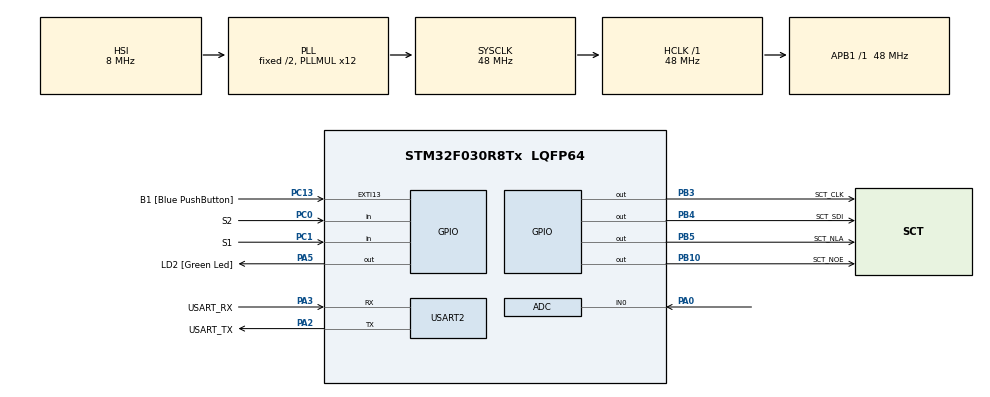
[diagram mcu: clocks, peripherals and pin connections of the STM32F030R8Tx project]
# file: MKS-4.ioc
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ADC.ContinuousConvMode=ENABLE
ADC.Overrun=ADC_OVR_DATA_OVERWRITTEN
ADC.SamplingTime=ADC_SAMPLETIME_239CYCLES_5
Mcu.Family=STM32F0
Mcu.Name=STM32F030R8Tx
Mcu.Package=LQFP64
NVIC.ADC1_IRQn=true\:0\:0\:false\:false\:true\:true\:true
PA0.Mode=IN0
PA0.Signal=ADC_IN0
PA13.GPIO_Label=TMS
PA13.Mode=Serial_Wire
PA13.Signal=SYS_SWDIO
PA14.GPIO_Label=TCK
PA14.Mode=Serial_Wire
PA14.Signal=SYS_SWCLK
PA2.GPIO_Label=USART_TX
PA2.GPIO_Mode=GPIO_MODE_AF_PP
PA2.GPIO_PuPd=GPIO_NOPULL
PA2.GPIO_Speed=GPIO_SPEED_FREQ_LOW
PA2.Mode=Asynchronous
PA2.Signal=USART2_TX
PA3.GPIO_Label=USART_RX
PA3.GPIO_Mode=GPIO_MODE_AF_PP
PA3.GPIO_PuPd=GPIO_NOPULL
PA3.GPIO_Speed=GPIO_SPEED_FREQ_LOW
PA3.Mode=Asynchronous
PA3.Signal=USART2_RX
PA5.GPIO_Label=LD2 [Green Led]
PA5.GPIO_Mode=GPIO_MODE_OUTPUT_PP
PA5.GPIO_PuPd=GPIO_NOPULL
PA5.GPIO_Speed=GPIO_SPEED_FREQ_LOW
PA5.Signal=GPIO_Output
PB10.GPIO_Label=SCT_NOE
PB10.Signal=GPIO_Output
PB3.GPIO_Label=SCT_CLK
PB3.Signal=GPIO_Output
PB4.GPIO_Label=SCT_SDI
PB4.Signal=GPIO_Output
PB5.GPIO_Label=SCT_NLA
PB5.Signal=GPIO_Output
PC0.GPIO_Label=S2
PC0.GPIO_Mode=GPIO_MODE_INPUT
PC0.GPIO_PuPd=GPIO_PULLUP
PC0.Signal=GPIO_Input
PC1.GPIO_Label=S1
PC1.GPIO_PuPd=GPIO_PULLUP
PC1.Signal=GPIO_Input
PC13.GPIO_Label=B1 [Blue PushButton]
PC13.GPIO_ModeDefaultEXTI=GPIO_MODE_IT_FALLING
PC13.Signal=GPXTI13
PC14-OSC32_IN.Mode=LSE-External-Oscillator
PC14-OSC32_IN.Signal=RCC_OSC32_IN
PC15-OSC32_OUT.Mode=LSE-External-Oscillator
PC15-OSC32_OUT.Signal=RCC_OSC32_OUT
PF0-OSC_IN.Mode=HSE-External-Clock-Source
PF0-OSC_IN.Signal=RCC_OSC_IN
PF1-OSC_OUT.Signal=RCC_OSC_OUT
ProjectManager.HeapSize=0x200
ProjectManager.StackSize=0x400
ProjectManager.TargetToolchain=STM32CubeIDE
RCC.AHBFreq_Value=48000000
RCC.APB1Freq_Value=48000000
RCC.APB1TimFreq_Value=48000000
RCC.HCLKFreq_Value=48000000
RCC.PLLMUL=RCC_PLL_MUL12
RCC.SYSCLKFreq_VALUE=48000000
RCC.SYSCLKSource=RCC_SYSCLKSOURCE_PLLCLK
USART2.VirtualMode-Asynchronous=VM_ASYNC
VP_ADC_TempSens_Input.Mode=IN-TempSens
VP_ADC_Vref_Input.Mode=IN-Vrefint
board=NUCLEO-F030R8

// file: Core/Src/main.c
/* USER CODE BEGIN Header */
/**
 ******************************************************************************
 * @file           : main.c
 * @brief          : Main program body
 ******************************************************************************
 * @attention
 *
 * <h2><center>&copy; Copyright (c) 2021 STMicroelectronics.
 * All rights reserved.</center></h2>
 *
 * This software component is licensed by ST under BSD 3-Clause license,
 * the "License"; You may not use this file except in compliance with the
 * License. You may obtain a copy of the License at:
 *                        opensource.org/licenses/BSD-3-Clause
 *
 ******************************************************************************
 */
/* USER CODE END Header */
#include "main.h"

/* USER CODE BEGIN Includes */
#include "sct.h"
/* USER CODE END Includes */

/* USER CODE BEGIN PD */
/* Temperature sensor calibration value address */
#define TEMP110_CAL_ADDR ((uint16_t*) ((uint32_t) 0x1FFFF7C2))
#define TEMP30_CAL_ADDR ((uint16_t*) ((uint32_t) 0x1FFFF7B8))
/* Internal voltage reference calibration value address */
#define VREFINT_CAL_ADDR ((uint16_t*) ((uint32_t) 0x1FFFF7BA))
/* USER CODE END PD */

ADC_HandleTypeDef hadc;

UART_HandleTypeDef huart2;

/* USER CODE BEGIN PV */
static volatile uint32_t raw_pot;
static volatile uint32_t raw_temp;
static volatile uint32_t raw_volt;
/* USER CODE END PV */

void SystemClock_Config(void);
static void MX_GPIO_Init(void);
static void MX_USART2_UART_Init(void);
static void MX_ADC_Init(void);

/* USER CODE BEGIN 0 */
void HAL_ADC_ConvCpltCallback(ADC_HandleTypeDef* hadc){
	static uint32_t avg_pot;
	static uint8_t channel;
	// Switch between channels
	switch (channel) {
	case 0:
		// Exponential cumulation
		// Notice lazy number displaying
		raw_pot = avg_pot >> 12;
		avg_pot -= raw_pot;
		avg_pot += HAL_ADC_GetValue(hadc);
		break;
	case 1:
		raw_temp = HAL_ADC_GetValue(hadc);
		break;
	case 2:
		raw_volt = HAL_ADC_GetValue(hadc);
		break;
	}
	if (__HAL_ADC_GET_FLAG(hadc, ADC_FLAG_EOS)) channel = 0;
	else channel++;

}
/* USER CODE END 0 */

int main(void)
{

	/* MCU Configuration--------------------------------------------------------*/

	/* Reset of all peripherals, Initializes the Flash interface and the Systick. */
	HAL_Init();

	/* Configure the system clock */
	SystemClock_Config();

	/* Initialize all configured peripherals */
	MX_GPIO_Init();
	MX_USART2_UART_Init();
	MX_ADC_Init();
	/* USER CODE BEGIN 2 */
	sct_init();
	HAL_ADCEx_Calibration_Start(&hadc);
	HAL_ADC_Start_IT(&hadc);
	/* USER CODE END 2 */

	/* Infinite loop */
	/* USER CODE BEGIN WHILE */
	// State automat
	static enum {RIGHT, LEFT} state = RIGHT;
	uint32_t timer;

	while (1)
	{
		/* USER CODE END WHILE */

		/* USER CODE BEGIN 3 */
		// Voltage conversion
		//uint32_t voltage = 330 * (*VREFINT_CAL_ADDR) / raw_volt;
		// Temperature conversion
		int32_t temperature = (raw_temp - (int32_t)(*TEMP30_CAL_ADDR));
		temperature = temperature * (int32_t)(110 - 30);
		temperature = temperature / (int32_t)(*TEMP110_CAL_ADDR - *TEMP30_CAL_ADDR);
		temperature = temperature + 30;
		/*variable*/
		uint32_t tick = 0;

		/*STATE evaluating*/
		switch (state) {
		case RIGHT:
			sct_value(0, (tick-HAL_GetTick())*9/2000);
			break;
		case LEFT:
			sct_value(0, (tick-HAL_GetTick())*9/2000);
			break;
		}
		if (HAL_GetTick()>tick+2000){
			tick = 0;
		}
		else{
			tick += HAL_GetTick;
		}
		if(HAL_GPIO_ReadPin(S1_GPIO_Port, S1_Pin) == 0){
			timer = HAL_GetTick();
			state = LEFT;
		}
		else if (HAL_GPIO_ReadPin(S2_GPIO_Port, S2_Pin) == 0){
			timer = HAL_GetTick();
			state = RIGHT;
		}
		if (HAL_GetTick() >= timer + 2000){
			// timer = Tick;
			state = RIGHT;
		}

	}
	/* USER CODE END 3 */
}

void SystemClock_Config(void)
{
	RCC_OscInitTypeDef RCC_OscInitStruct = {0};
	RCC_ClkInitTypeDef RCC_ClkInitStruct = {0};

	/** Initializes the RCC Oscillators according to the specified parameters
	 * in the RCC_OscInitTypeDef structure.
	 */
	RCC_OscInitStruct.OscillatorType = RCC_OSCILLATORTYPE_HSI|RCC_OSCILLATORTYPE_HSI14;
	RCC_OscInitStruct.HSIState = RCC_HSI_ON;
	RCC_OscInitStruct.HSI14State = RCC_HSI14_ON;
	RCC_OscInitStruct.HSICalibrationValue = RCC_HSICALIBRATION_DEFAULT;
	RCC_OscInitStruct.HSI14CalibrationValue = 16;
	RCC_OscInitStruct.PLL.PLLState = RCC_PLL_ON;
	RCC_OscInitStruct.PLL.PLLSource = RCC_PLLSOURCE_HSI;
	RCC_OscInitStruct.PLL.PLLMUL = RCC_PLL_MUL12;
	RCC_OscInitStruct.PLL.PREDIV = RCC_PREDIV_DIV1;
	if (HAL_RCC_OscConfig(&RCC_OscInitStruct) != HAL_OK)
	{
		Error_Handler();
	}
	/** Initializes the CPU, AHB and APB buses clocks
	 */
	RCC_ClkInitStruct.ClockType = RCC_CLOCKTYPE_HCLK|RCC_CLOCKTYPE_SYSCLK
			|RCC_CLOCKTYPE_PCLK1;
	RCC_ClkInitStruct.SYSCLKSource = RCC_SYSCLKSOURCE_PLLCLK;
	RCC_ClkInitStruct.AHBCLKDivider = RCC_SYSCLK_DIV1;
	RCC_ClkInitStruct.APB1CLKDivider = RCC_HCLK_DIV1;

	if (HAL_RCC_ClockConfig(&RCC_ClkInitStruct, FLASH_LATENCY_1) != HAL_OK)
	{
		Error_Handler();
	}
}

static void MX_ADC_Init(void)
{

	ADC_ChannelConfTypeDef sConfig = {0};

	/** Configure the global features of the ADC (Clock, Resolution, Data Alignment and number of conversion)
	 */
	hadc.Instance = ADC1;
	hadc.Init.ClockPrescaler = ADC_CLOCK_ASYNC_DIV1;
	hadc.Init.Resolution = ADC_RESOLUTION_12B;
	hadc.Init.DataAlign = ADC_DATAALIGN_RIGHT;
	hadc.Init.ScanConvMode = ADC_SCAN_DIRECTION_FORWARD;
	hadc.Init.EOCSelection = ADC_EOC_SINGLE_CONV;
	hadc.Init.LowPowerAutoWait = DISABLE;
	hadc.Init.LowPowerAutoPowerOff = DISABLE;
	hadc.Init.ContinuousConvMode = ENABLE;
	hadc.Init.DiscontinuousConvMode = DISABLE;
	hadc.Init.ExternalTrigConv = ADC_SOFTWARE_START;
	hadc.Init.ExternalTrigConvEdge = ADC_EXTERNALTRIGCONVEDGE_NONE;
	hadc.Init.DMAContinuousRequests = DISABLE;
	hadc.Init.Overrun = ADC_OVR_DATA_OVERWRITTEN;
	if (HAL_ADC_Init(&hadc) != HAL_OK)
	{
		Error_Handler();
	}
	/** Configure for the selected ADC regular channel to be converted.
	 */
	sConfig.Channel = ADC_CHANNEL_0;
	sConfig.Rank = ADC_RANK_CHANNEL_NUMBER;
	sConfig.SamplingTime = ADC_SAMPLETIME_239CYCLES_5;
	if (HAL_ADC_ConfigChannel(&hadc, &sConfig) != HAL_OK)
	{
		Error_Handler();
	}
	/** Configure for the selected ADC regular channel to be converted.
	 */
	sConfig.Channel = ADC_CHANNEL_TEMPSENSOR;
	if (HAL_ADC_ConfigChannel(&hadc, &sConfig) != HAL_OK)
	{
		Error_Handler();
	}
	/** Configure for the selected ADC regular channel to be converted.
	 */
	sConfig.Channel = ADC_CHANNEL_VREFINT;
	if (HAL_ADC_ConfigChannel(&hadc, &sConfig) != HAL_OK)
	{
		Error_Handler();
	}

}

static void MX_USART2_UART_Init(void)
{

	huart2.Instance = USART2;
	huart2.Init.BaudRate = 38400;
	huart2.Init.WordLength = UART_WORDLENGTH_8B;
	huart2.Init.StopBits = UART_STOPBITS_1;
	huart2.Init.Parity = UART_PARITY_NONE;
	huart2.Init.Mode = UART_MODE_TX_RX;
	huart2.Init.HwFlowCtl = UART_HWCONTROL_NONE;
	huart2.Init.OverSampling = UART_OVERSAMPLING_16;
	huart2.Init.OneBitSampling = UART_ONE_BIT_SAMPLE_DISABLE;
	huart2.AdvancedInit.AdvFeatureInit = UART_ADVFEATURE_NO_INIT;
	if (HAL_UART_Init(&huart2) != HAL_OK)
	{
		Error_Handler();
	}

}

static void MX_GPIO_Init(void)
{
	GPIO_InitTypeDef GPIO_InitStruct = {0};

	/* GPIO Ports Clock Enable */
	__HAL_RCC_GPIOC_CLK_ENABLE();
	__HAL_RCC_GPIOF_CLK_ENABLE();
	__HAL_RCC_GPIOA_CLK_ENABLE();
	__HAL_RCC_GPIOB_CLK_ENABLE();

	/*Configure GPIO pin Output Level */
	HAL_GPIO_WritePin(LD2_GPIO_Port, LD2_Pin, GPIO_PIN_RESET);

	/*Configure GPIO pin Output Level */
	HAL_GPIO_WritePin(GPIOB, SCT_NOE_Pin|SCT_CLK_Pin|SCT_SDI_Pin|SCT_NLA_Pin, GPIO_PIN_RESET);

	/*Configure GPIO pin : B1_Pin */
	GPIO_InitStruct.Pin = B1_Pin;
	GPIO_InitStruct.Mode = GPIO_MODE_IT_FALLING;
	GPIO_InitStruct.Pull = GPIO_NOPULL;
	HAL_GPIO_Init(B1_GPIO_Port, &GPIO_InitStruct);

	/*Configure GPIO pins : S2_Pin S1_Pin */
	GPIO_InitStruct.Pin = S2_Pin|S1_Pin;
	GPIO_InitStruct.Mode = GPIO_MODE_INPUT;
	GPIO_InitStruct.Pull = GPIO_PULLUP;
	HAL_GPIO_Init(GPIOC, &GPIO_InitStruct);

	/*Configure GPIO pin : LD2_Pin */
	GPIO_InitStruct.Pin = LD2_Pin;
	GPIO_InitStruct.Mode = GPIO_MODE_OUTPUT_PP;
	GPIO_InitStruct.Pull = GPIO_NOPULL;
	GPIO_InitStruct.Speed = GPIO_SPEED_FREQ_LOW;
	HAL_GPIO_Init(LD2_GPIO_Port, &GPIO_InitStruct);

	/*Configure GPIO pins : SCT_NOE_Pin SCT_CLK_Pin SCT_SDI_Pin SCT_NLA_Pin */
	GPIO_InitStruct.Pin = SCT_NOE_Pin|SCT_CLK_Pin|SCT_SDI_Pin|SCT_NLA_Pin;
	GPIO_InitStruct.Mode = GPIO_MODE_OUTPUT_PP;
	GPIO_InitStruct.Pull = GPIO_NOPULL;
	GPIO_InitStruct.Speed = GPIO_SPEED_FREQ_LOW;
	HAL_GPIO_Init(GPIOB, &GPIO_InitStruct);

}

void Error_Handler(void)
{
	__disable_irq();
	while (1){
	}
}

/************************ (C) COPYRIGHT STMicroelectronics *****END OF FILE****/
